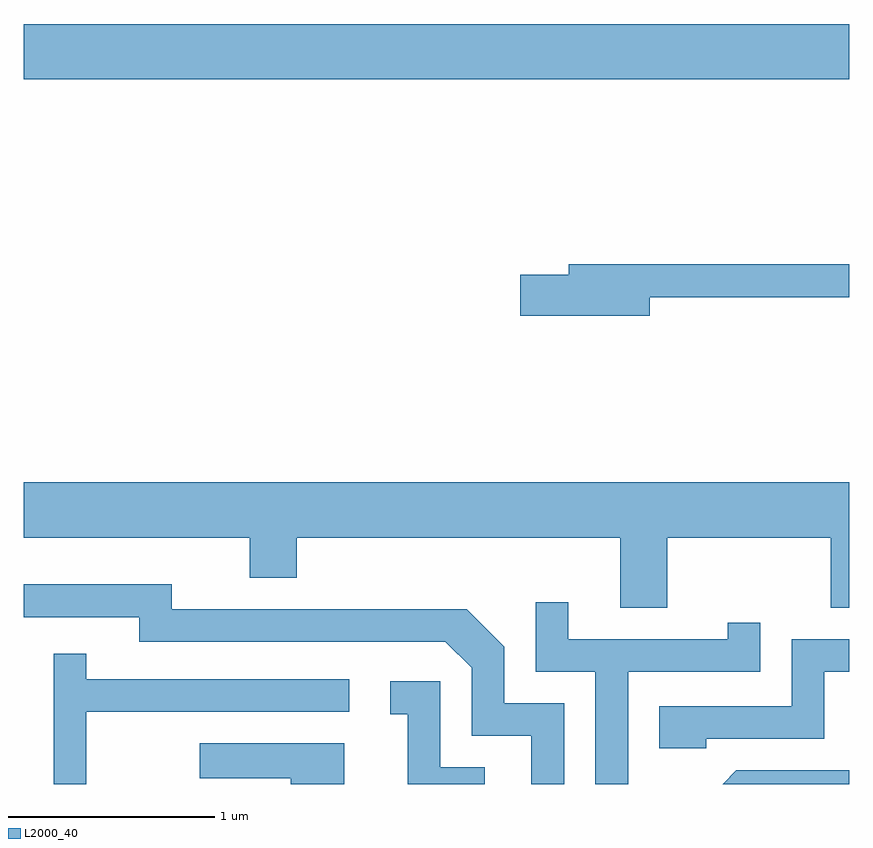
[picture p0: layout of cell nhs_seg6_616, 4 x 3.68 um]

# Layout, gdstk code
import gdstk
lib = gdstk.Library(unit=1e-6, precision=1e-09)
def R(c, l, rs):  # rectangles x0, y0, x1, y1
    for r in rs: c.add(gdstk.rectangle(r[:2], r[2:], *l))
def P(c, l, *ps):  # polygons
    for p in ps: c.add(gdstk.Polygon(p, *l))
L2000_40 = (2000, 40)

nhs_seg6_616 = lib.new_cell('nhs_seg6_616')
R(nhs_seg6_616, L2000_40, [(203.611,1565.576,207.611,1565.844)])
P(nhs_seg6_616, L2000_40, [(206.644,1564.521),(207.611,1564.521),(207.611,1564.679),(206.251,1564.679),(206.251,1564.629),(206.016,1564.629),(206.016,1564.431),(206.644,1564.431)],
  [(206.729,1563.356),(207.521,1563.356),(207.521,1563.016),(207.611,1563.016),(207.611,1563.624),(203.611,1563.624),(203.611,1563.356),(204.706,1563.356),(204.706,1563.161),(204.934,1563.161),(204.934,1563.356),(206.501,1563.356),(206.501,1563.016),(206.729,1563.016)],
  [(206.229,1562.554),(205.939,1562.554),(205.939,1562.827),(205.757,1563.009),(204.329,1563.009),(204.329,1563.129),(203.611,1563.129),(203.611,1562.971),(204.171,1562.971),(204.171,1562.851),(205.654,1562.851),(205.781,1562.724),(205.781,1562.396),(206.071,1562.396),(206.071,1562.162),(206.229,1562.162)],
  [(206.539,1562.706),(207.179,1562.706),(207.179,1562.943),(207.021,1562.943),(207.021,1562.864),(206.249,1562.864),(206.249,1563.043),(206.091,1563.043),(206.091,1562.706),(206.381,1562.706),(206.381,1562.162),(206.539,1562.162)],
  [(206.919,1562.381),(207.489,1562.381),(207.489,1562.706),(207.611,1562.706),(207.611,1562.864),(207.331,1562.864),(207.331,1562.539),(206.691,1562.539),(206.691,1562.336),(206.919,1562.336)],
  [(203.914,1562.511),(205.188,1562.511),(205.188,1562.669),(203.914,1562.669),(203.914,1562.793),(203.756,1562.793),(203.756,1562.162),(203.914,1562.162)],
  [(205.844,1562.244),(205.629,1562.244),(205.629,1562.659),(205.388,1562.659),(205.388,1562.501),(205.471,1562.501),(205.471,1562.162),(205.844,1562.162)],
  [(205.164,1562.359),(204.463,1562.359),(204.463,1562.191),(204.906,1562.191),(204.906,1562.162),(205.164,1562.162)],
  [(207.611,1562.229),(207.064,1562.229),(206.997,1562.162),(207.611,1562.162)])

lib.write_gds('nhs_seg6_616.gds')
